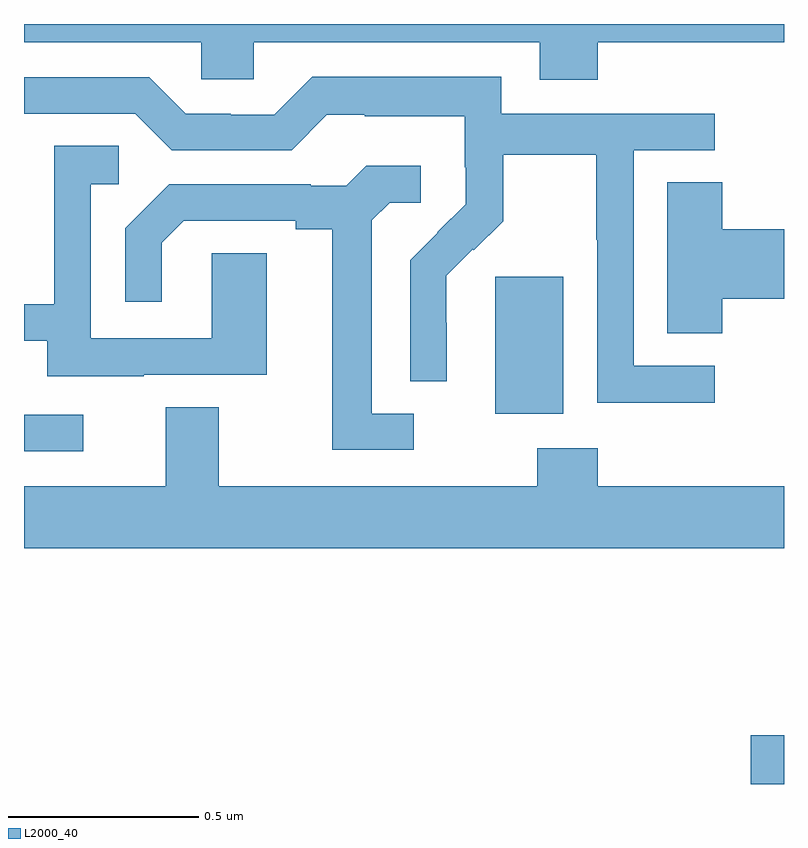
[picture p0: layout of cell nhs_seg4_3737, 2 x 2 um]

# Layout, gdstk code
import gdstk
lib = gdstk.Library(unit=1e-6, precision=1e-09)
def R(c, l, rs):  # rectangles x0, y0, x1, y1
    for r in rs: c.add(gdstk.rectangle(r[:2], r[2:], *l))
def P(c, l, *ps):  # polygons
    for p in ps: c.add(gdstk.Polygon(p, *l))
L2000_40 = (2000, 40)

nhs_seg4_3737 = lib.new_cell('nhs_seg4_3737')
R(nhs_seg4_3737, L2000_40, [(158.912,762.9,159,763.028), (157,763.776,157.156,763.872), (158.24,763.874,158.419,764.235)])
P(nhs_seg4_3737, L2000_40, [(158.51,764.852),(159,764.852),(159,764.9),(157,764.9),(157,764.852),(157.467,764.852),(157.467,764.754),(157.605,764.754),(157.605,764.852),(158.357,764.852),(158.357,764.753),(158.51,764.753)],
  [(158.818,764.001),(158.604,764.001),(158.604,764.568),(158.818,764.568),(158.818,764.664),(158.256,764.664),(158.256,764.761),(157.759,764.761),(157.659,764.661),(157.544,764.661),(157.544,764.664),(157.425,764.664),(157.329,764.76),(157,764.76),(157,764.664),(157.293,764.664),(157.389,764.568),(157.704,764.568),(157.797,764.661),(157.897,764.661),(157.897,764.657),(158.16,764.657),(158.16,764.523),(158.162,764.523),(158.162,764.426),(158.088,764.352),(158.089,764.351),(158.016,764.278),(158.016,763.96),(158.112,763.96),(158.112,764.114),(158.111,764.114),(158.111,764.237),(158.181,764.307),(158.184,764.304),(158.261,764.381),(158.261,764.556),(158.506,764.556),(158.506,764.332),(158.508,764.332),(158.508,763.903),(158.818,763.903)],
  [(157.315,763.977),(157.639,763.977),(157.639,764.297),(157.494,764.297),(157.494,764.073),(157.176,764.073),(157.176,764.478),(157.249,764.478),(157.249,764.579),(157.08,764.579),(157.08,764.163),(157,764.163),(157,764.067),(157.061,764.067),(157.061,763.973),(157.315,763.973)],
  [(158.026,763.875),(157.915,763.875),(157.915,764.383),(157.962,764.43),(158.044,764.43),(158.044,764.527),(157.9,764.527),(157.848,764.475),(157.754,764.475),(157.754,764.478),(157.382,764.478),(157.266,764.362),(157.266,764.169),(157.363,764.169),(157.363,764.325),(157.42,764.382),(157.715,764.382),(157.715,764.36),(157.811,764.36),(157.811,763.779),(158.026,763.779)],
  [(158.837,764.177),(159,764.177),(159,764.36),(158.837,764.36),(158.837,764.483),(158.693,764.483),(158.693,764.086),(158.837,764.086)],
  [(159,763.684),(158.51,763.684),(158.51,763.783),(158.35,763.783),(158.35,763.684),(157.513,763.684),(157.513,763.892),(157.373,763.892),(157.373,763.684),(157,763.684),(157,763.52),(159,763.52)])

lib.write_gds('nhs_seg4_3737.gds')
